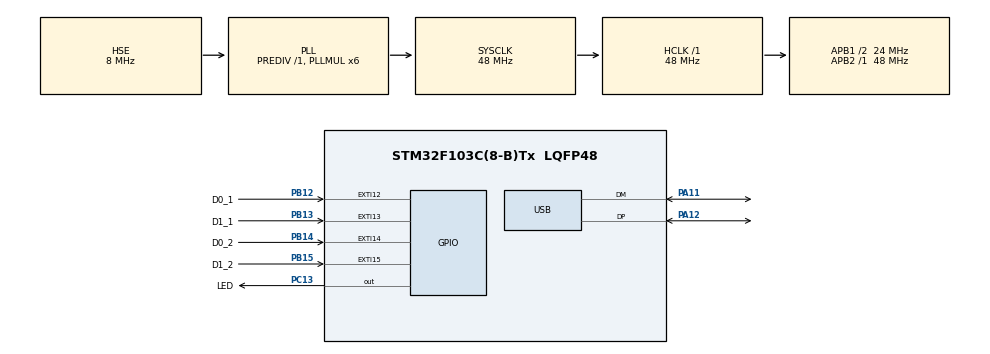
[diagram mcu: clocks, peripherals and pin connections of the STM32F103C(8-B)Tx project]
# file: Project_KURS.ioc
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Mcu.Family=STM32F1
Mcu.Name=STM32F103C(8-B)Tx
Mcu.Package=LQFP48
NVIC.EXTI15_10_IRQn=true\:0\:0\:false\:false\:true\:true\:true
NVIC.PriorityGroup=NVIC_PRIORITYGROUP_4
NVIC.USB_LP_CAN1_RX0_IRQn=true\:0\:0\:false\:false\:true\:false\:true
PA11.Mode=Device
PA11.Signal=USB_DM
PA12.Mode=Device
PA12.Signal=USB_DP
PA13.Mode=Serial_Wire
PA13.Signal=SYS_JTMS-SWDIO
PA14.Mode=Serial_Wire
PA14.Signal=SYS_JTCK-SWCLK
PB12.GPIO_Label=D0_1
PB12.GPIO_ModeDefaultEXTI=GPIO_MODE_IT_FALLING
PB12.GPIO_PuPd=GPIO_PULLDOWN
PB12.Signal=GPXTI12
PB13.GPIO_Label=D1_1
PB13.GPIO_ModeDefaultEXTI=GPIO_MODE_IT_FALLING
PB13.GPIO_PuPd=GPIO_PULLDOWN
PB13.Signal=GPXTI13
PB14.GPIO_Label=D0_2
PB14.GPIO_ModeDefaultEXTI=GPIO_MODE_IT_FALLING
PB14.GPIO_PuPd=GPIO_PULLDOWN
PB14.Signal=GPXTI14
PB15.GPIO_Label=D1_2
PB15.GPIO_ModeDefaultEXTI=GPIO_MODE_IT_FALLING
PB15.GPIO_PuPd=GPIO_PULLDOWN
PB15.Signal=GPXTI15
PC13-TAMPER-RTC.GPIO_Label=LED
PC13-TAMPER-RTC.Signal=GPIO_Output
PD0-OSC_IN.Mode=HSE-External-Oscillator
PD0-OSC_IN.Signal=RCC_OSC_IN
PD1-OSC_OUT.Mode=HSE-External-Oscillator
PD1-OSC_OUT.Signal=RCC_OSC_OUT
ProjectManager.HeapSize=0x200
ProjectManager.StackSize=0x400
ProjectManager.TargetToolchain=STM32CubeIDE
RCC.AHBFreq_Value=48000000
RCC.APB1CLKDivider=RCC_HCLK_DIV2
RCC.APB1Freq_Value=24000000
RCC.APB1TimFreq_Value=48000000
RCC.APB2Freq_Value=48000000
RCC.APB2TimFreq_Value=48000000
RCC.HCLKFreq_Value=48000000
RCC.PLLMUL=RCC_PLL_MUL6
RCC.PLLSourceVirtual=RCC_PLLSOURCE_HSE
RCC.SYSCLKFreq_VALUE=48000000
RCC.SYSCLKSource=RCC_SYSCLKSOURCE_PLLCLK
RCC.USBFreq_Value=48000000
USB_DEVICE.CLASS_NAME_FS=HID
USB_DEVICE.PRODUCT_STRING_HID_FS=STM32 KYEBOARD
USB_DEVICE.VirtualMode=Hid
USB_DEVICE.VirtualModeFS=Hid_FS
VP_USB_DEVICE_VS_USB_DEVICE_HID_FS.Mode=HID_FS
board=custom

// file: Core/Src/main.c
/* USER CODE BEGIN Header */
/**
  ******************************************************************************
  * @file           : main.c
  * @brief          : Main program body
  ******************************************************************************
  * @attention
  *
  * Copyright (c) 2022 STMicroelectronics.
  * All rights reserved.
  *
  * This software is licensed under terms that can be found in the LICENSE file
  * in the root directory of this software component.
  * If no LICENSE file comes with this software, it is provided AS-IS.
  *
  ******************************************************************************
  */
/* USER CODE END Header */
#include "main.h"
#include "usb_device.h"

/* USER CODE BEGIN Includes */
#include "usbd_hid.h"
#include "wiegand.h"
#include "hid.h"
/* USER CODE END Includes */

void SystemClock_Config(void);
static void MX_GPIO_Init(void);

/* USER CODE BEGIN 0 */

uint32_t uit=0;
uint8_t values[32];
//uint32_t revdigits[10];
uint8_t current_index = 0;
uint32_t last_read_time = 0;
//uint32_t n1=0;

int count =5;

/* WIEGAND DECLARATION */
struct wiegand w1;
struct wiegand w2;
struct wiegand w3;
struct wiegand w4;
struct wiegand w5;

/* USER CODE END 0 */

int main(void) {
    /* USER CODE BEGIN 1 */

    /* WIEGAND CONFIGURATION */
    w1.D1_Pin = D1_1_Pin;
    w1.D0_Pin = D0_1_Pin;
//    w2 = w1;
//    w3 = w1;
//    w4 = w1;
//    w5 = w1;
    struct wiegand Wiegands[5] = {
            w1, w2, w3, w4, w5
    };
    WiegandInit(Wiegands, count);

    /* USER CODE END 1 */

    /* MCU Configuration--------------------------------------------------------*/

    /* Reset of all peripherals, Initializes the Flash interface and the Systick. */
    HAL_Init();

    /* Configure the system clock */
    SystemClock_Config();

    /* Initialize all configured peripherals */
    MX_GPIO_Init();
    MX_USB_DEVICE_Init();
    /* USER CODE BEGIN 2 */

    uint32_t blink_time = 200;
    /* USER CODE END 2 */

    /* Infinite loop */
    /* USER CODE BEGIN WHILE */
    while (1) {
        KeyInputLoop();
        uint32_t time = HAL_GetTick();
        if (time > blink_time) {
            HAL_GPIO_WritePin(LED_GPIO_Port, LED_Pin, GPIO_PIN_SET);
        } else {
            HAL_GPIO_WritePin(LED_GPIO_Port, LED_Pin, GPIO_PIN_RESET);
        }
        //IsAvaliable возвращает индекс устройства, с которого подали сигнал

        if (WiegandIsAvaliable()!=100) {
            char digits[11];
            int len = WiegandGetKey(digits, WiegandIsAvaliable());
            //GetKey возвращает значение 1 если в массиве digits > одного элемента, иначе - 0
            for(int i= 0; i<len;i++){
                KeyInputQueueEnQueue(digits[i]);
            }
        }
    }
}
/* USER CODE END WHILE */

void SystemClock_Config(void)
{
    RCC_OscInitTypeDef RCC_OscInitStruct = {0};
    RCC_ClkInitTypeDef RCC_ClkInitStruct = {0};
    RCC_PeriphCLKInitTypeDef PeriphClkInit = {0};

    /** Initializes the RCC Oscillators according to the specified parameters
    * in the RCC_OscInitTypeDef structure.
    */
    RCC_OscInitStruct.OscillatorType = RCC_OSCILLATORTYPE_HSE;
    RCC_OscInitStruct.HSEState = RCC_HSE_ON;
    RCC_OscInitStruct.HSEPredivValue = RCC_HSE_PREDIV_DIV1;
    RCC_OscInitStruct.HSIState = RCC_HSI_ON;
    RCC_OscInitStruct.PLL.PLLState = RCC_PLL_ON;
    RCC_OscInitStruct.PLL.PLLSource = RCC_PLLSOURCE_HSE;
    RCC_OscInitStruct.PLL.PLLMUL = RCC_PLL_MUL6;
    if (HAL_RCC_OscConfig(&RCC_OscInitStruct) != HAL_OK)
    {
        Error_Handler();
    }
    /** Initializes the CPU, AHB and APB buses clocks
    */
    RCC_ClkInitStruct.ClockType = RCC_CLOCKTYPE_HCLK|RCC_CLOCKTYPE_SYSCLK
                                  |RCC_CLOCKTYPE_PCLK1|RCC_CLOCKTYPE_PCLK2;
    RCC_ClkInitStruct.SYSCLKSource = RCC_SYSCLKSOURCE_PLLCLK;
    RCC_ClkInitStruct.AHBCLKDivider = RCC_SYSCLK_DIV1;
    RCC_ClkInitStruct.APB1CLKDivider = RCC_HCLK_DIV2;
    RCC_ClkInitStruct.APB2CLKDivider = RCC_HCLK_DIV1;

    if (HAL_RCC_ClockConfig(&RCC_ClkInitStruct, FLASH_LATENCY_1) != HAL_OK)
    {
        Error_Handler();
    }
    PeriphClkInit.PeriphClockSelection = RCC_PERIPHCLK_USB;
    PeriphClkInit.UsbClockSelection = RCC_USBCLKSOURCE_PLL;
    if (HAL_RCCEx_PeriphCLKConfig(&PeriphClkInit) != HAL_OK)
    {
        Error_Handler();
    }
}

static void MX_GPIO_Init(void)
{
    GPIO_InitTypeDef GPIO_InitStruct = {0};

    /* GPIO Ports Clock Enable */
    __HAL_RCC_GPIOC_CLK_ENABLE();
    __HAL_RCC_GPIOD_CLK_ENABLE();
    __HAL_RCC_GPIOB_CLK_ENABLE();
    __HAL_RCC_GPIOA_CLK_ENABLE();

    /*Configure GPIO pin Output Level */
    HAL_GPIO_WritePin(LED_GPIO_Port, LED_Pin, GPIO_PIN_RESET);

    /*Configure GPIO pin : LED_Pin */
    GPIO_InitStruct.Pin = LED_Pin;
    GPIO_InitStruct.Mode = GPIO_MODE_OUTPUT_PP;
    GPIO_InitStruct.Pull = GPIO_NOPULL;
    GPIO_InitStruct.Speed = GPIO_SPEED_FREQ_LOW;
    HAL_GPIO_Init(LED_GPIO_Port, &GPIO_InitStruct);

    /*Configure GPIO pins : D0_1_Pin D1_1_Pin D0_2_Pin D1_2_Pin */
    GPIO_InitStruct.Pin = D0_1_Pin|D1_1_Pin|D0_2_Pin|D1_2_Pin;
    GPIO_InitStruct.Mode = GPIO_MODE_IT_FALLING;
    GPIO_InitStruct.Pull = GPIO_PULLDOWN;
    HAL_GPIO_Init(GPIOB, &GPIO_InitStruct);

    /* EXTI interrupt init*/
    HAL_NVIC_SetPriority(EXTI15_10_IRQn, 0, 0);
    HAL_NVIC_EnableIRQ(EXTI15_10_IRQn);

}

/* USER CODE BEGIN 4 */
void HAL_GPIO_EXTI_Callback(uint16_t GPIO_Pin) {
//    D1_1_Pin
//    D0_1_Pin
    WiegandRead(GPIO_Pin);
}
/* USER CODE END 4 */

void Error_Handler(void)
{
    __disable_irq();
    while (1)
    {
    }
}
